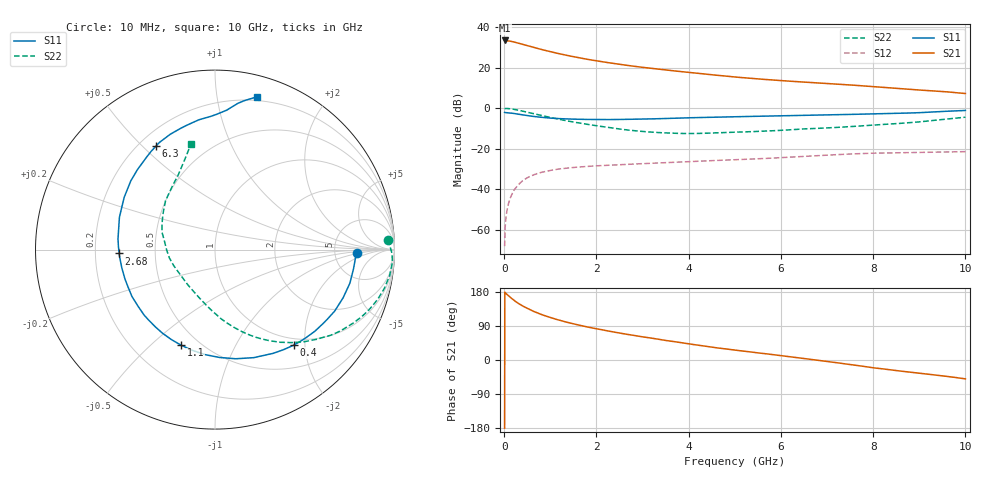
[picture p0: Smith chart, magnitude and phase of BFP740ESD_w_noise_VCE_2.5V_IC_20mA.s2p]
! Infineon Technologies  Discrete & RF Semiconductors
! BFP740ESD
! VCE =  2.5 V,  IC =  20 mA
! Common Emitter S-Parameters:  Jan 2016
# GHz  S  MA  R  50
!  f  S11  S21  S12  S22
! GHz  MAG  ANG  MAG  ANG  MAG  ANG  MAG  ANG
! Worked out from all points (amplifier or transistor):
!   233 points, 10 MHz to 10 GHz, reference 50 ohm
!   highest |S21| = 33.4 dB at 10 MHz (marker M1)
!   |S21| within 3 dB of that: start of sweep to 568.1 MHz
!   unconditionally stable (mu >= 1): 4.564 GHz to 7.432 GHz
!   at 200 MHz: K = 0.14, MSG = 36.8 dB, |S12| = -40.9 dB
!   at 1.74 GHz: K = 0.58, MSG = 26.6 dB, |S12| = -28.8 dB
!   at 10 GHz: K = 0.74, MSG = 14.3 dB, |S12| = -21.4 dB
!   lowest NFmin = 0.79 dB at 450 MHz
!   S11 on the Smith chart (normalised r, x): 10 MHz: 8.53, -0.95; 400 MHz: 0.88, -1.78; 1.1 GHz: 0.40, -0.63; 2.68 GHz: 0.30, -0.02; 6.3 GHz: 0.27, +0.55; 10 GHz: 0.17, +1.30
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0.01  0.7924 -1.5  46.95 -179.9  0.0004 163.2  0.9661 3.3
0.02  0.7848 -2.8  46.28 177.7  0.0011 90.0  0.9862 -1.2
0.06  0.7782 -8.6  46.06 173.2  0.003 88.0  0.9891 -4.8
0.1  0.7744 -14.0  45.82 169.0  0.0047 84.1  0.9838 -8.5
0.2  0.7497 -27.2  43.52 158.8  0.009 76.2  0.9483 -16.9
0.3  0.7188 -39.2  40.6 150.0  0.0128 70.4  0.9014 -24.2
0.4  0.6901 -50.4  37.66 142.6  0.0163 65.2  0.8514 -30.6
0.54  0.6512 -64.5  33.93 133.9  0.0204 59.1  0.7823 -38.4
0.7  0.6189 -79.3  30.3 125.2  0.0243 53.3  0.7107 -46.4
0.9  0.5876 -95.5  26.51 116.1  0.028 47.5  0.6318 -54.8
1.1  0.565 -109.6  23.39 108.4  0.0308 42.9  0.5632 -62.2
1.4  0.544 -127.5  19.69 98.3  0.0339 37.7  0.4811 -71.8
1.68  0.534 -141.1  17.12 90.5  0.0361 34.4  0.4235 -79.4
2.2  0.5277 -161.9  13.61 77.7  0.0393 30.2  0.3443 -92.2
2.68  0.5344 -177.7  11.37 67.5  0.0417 27.7  0.2914 -105.0
3.4  0.5565 163.7  9.058 53.7  0.0453 25.2  0.2503 -125.1
4.5  0.6055 140.8  6.706 33.7  0.0513 21.6  0.2466 -158.5
5.1  0.6232 132.9  5.779 24.7  0.0545 20.1  0.2598 -171.5
6.3  0.664 119.6  4.569 7.1  0.0633 16.5  0.2999 165.1
6.8  0.6818 113.6  4.207 -0.7  0.0681 13.9  0.3203 157.2
8.4  0.7424 91.9  3.152 -26.4  0.0796 1.0  0.4115 127.6
10  0.8835 74.5  2.31 -49.8  0.0854 -10.6  0.6041 102.8
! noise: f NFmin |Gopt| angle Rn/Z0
0.45  0.79  0.01  -64  0.1
0.9  0.82  0.02  -139  0.09
1.9  0.83  0.05  -129  0.1
2.4  0.88  0.09  -127  0.11
5.5  1.04  0.29  -122  0.12
10  1.64  0.57  -85  0.53
